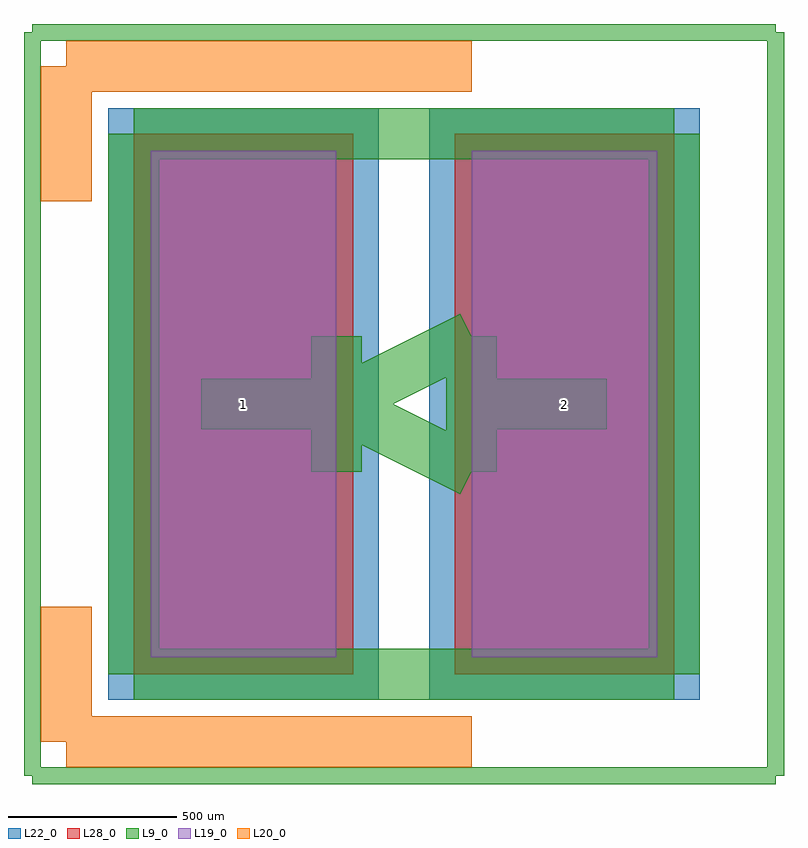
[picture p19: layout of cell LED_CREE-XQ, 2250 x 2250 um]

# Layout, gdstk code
import gdstk
lib = gdstk.Library(unit=1e-6, precision=1e-09)
def R(c, l, rs):  # rectangles x0, y0, x1, y1
    for r in rs: c.add(gdstk.rectangle(r[:2], r[2:], *l))
L9_0 = (9, 0)
L19_0 = (19, 0)
L20_0 = (20, 0)
L22_0 = (22, 0)
L28_0 = (28, 0)

led_cree_xq = lib.new_cell('LED_CREE-XQ')
R(led_cree_xq, L19_0, [(-750,-750,-200,750), (200,-750,750,750)])
R(led_cree_xq, L22_0, [(-875,-875,-75,875), (75,-875,875,875)])
R(led_cree_xq, L28_0, [(-800,-800,-150,800), (150,-800,800,800)])
led_cree_xq.add(gdstk.FlexPath([(-800,800),(800,800)], 149.998, ends="flush", simple_path=True, layer=9, datatype=0))  # L9_0
led_cree_xq.add(gdstk.FlexPath([(800,800),(800,-800)], 149.998, ends="flush", simple_path=True, layer=9, datatype=0))  # L9_0
led_cree_xq.add(gdstk.FlexPath([(800,-800),(-800,-800)], 149.998, ends="flush", simple_path=True, layer=9, datatype=0))  # L9_0
led_cree_xq.add(gdstk.FlexPath([(-800,-800),(-800,800)], 149.998, ends="flush", simple_path=True, layer=9, datatype=0))  # L9_0
led_cree_xq.add(gdstk.FlexPath([(600,0),(200,0)], 149.998, ends="flush", simple_path=True, layer=9, datatype=0))  # L9_0
led_cree_xq.add(gdstk.FlexPath([(-600,0),(-200,0)], 149.998, ends="flush", simple_path=True, layer=9, datatype=0))  # L9_0
led_cree_xq.add(gdstk.FlexPath([(-200,200),(-200,-200)], 149.998, ends="flush", simple_path=True, layer=9, datatype=0))  # L9_0
led_cree_xq.add(gdstk.FlexPath([(-200,0),(200,200)], 149.998, ends="flush", simple_path=True, layer=9, datatype=0))  # L9_0
led_cree_xq.add(gdstk.FlexPath([(200,200),(200,-200)], 149.998, ends="flush", simple_path=True, layer=9, datatype=0))  # L9_0
led_cree_xq.add(gdstk.FlexPath([(200,-200),(-200,0)], 149.998, ends="flush", simple_path=True, layer=9, datatype=0))  # L9_0
led_cree_xq.add(gdstk.FlexPath([(200,1000),(-1000,1000)], 149.998, ends="flush", simple_path=True, layer=20, datatype=0))  # L20_0
led_cree_xq.add(gdstk.FlexPath([(-1000,1000),(-1000,600)], 149.998, ends="flush", simple_path=True, layer=20, datatype=0))  # L20_0
led_cree_xq.add(gdstk.FlexPath([(200,-1000),(-1000,-1000)], 149.998, ends="flush", simple_path=True, layer=20, datatype=0))  # L20_0
led_cree_xq.add(gdstk.FlexPath([(-1000,-1000),(-1000,-600)], 149.998, ends="flush", simple_path=True, layer=20, datatype=0))  # L20_0
led_cree_xq.add(gdstk.FlexPath([(1100,1100),(1100,-1100)], 50, ends="flush", simple_path=True, layer=9, datatype=0))  # L9_0
led_cree_xq.add(gdstk.FlexPath([(1100,-1100),(-1100,-1100)], 50, ends="flush", simple_path=True, layer=9, datatype=0))  # L9_0
led_cree_xq.add(gdstk.FlexPath([(-1100,-1100),(-1100,1100)], 50, ends="flush", simple_path=True, layer=9, datatype=0))  # L9_0
led_cree_xq.add(gdstk.FlexPath([(-1100,1100),(1100,1100)], 50, ends="flush", simple_path=True, layer=9, datatype=0))  # L9_0
led_cree_xq.add(gdstk.Label('2', (475,0), layer=28, texttype=0))
led_cree_xq.add(gdstk.Label('1', (-475,0), layer=28, texttype=0))
led_cree_xq.add(gdstk.Label('type', (0,2000), layer=9, texttype=0))
led_cree_xq.add(gdstk.Label('devicename', (0,-2000), layer=9, texttype=0))

lib.write_gds('LED_CREE-XQ.gds')
